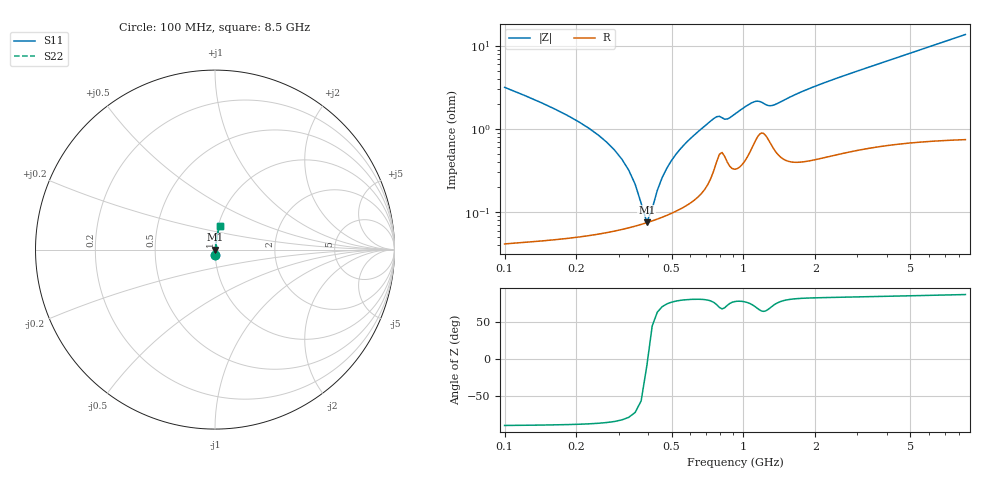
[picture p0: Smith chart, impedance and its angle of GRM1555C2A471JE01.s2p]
!Murata Part Number: GRM1555C2A471JE01
!These Parameters are Measured in Series Mode Connection
!Data Generated on Mar 30, 2021
!  o--ll--o
!Port1  Port2
!  o------o
!Operation Temp=25[degC], DC Bias Voltage=0[V]
!Freq. Start=100[MHz] Stop=9[GHz] 401[Steps]
# Hz S RI R 50
!Freq.(Hz) S11(Real) S11(Imag) S21(Real) S21(Imag) S12(Real) S12(Imag) S22(Real) S22(Imag)
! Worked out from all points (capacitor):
!   401 points, 100 MHz to 8.5 GHz, reference 50 ohm
!   read as one part in series: C = 470 pF near 142 MHz
!   lowest |Z| = 75.6 mohm at 394 MHz (marker M1)
!   series resonance near 396.8 MHz, so ESL is about 340 pH
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1e8  0.00141 -0.0316  0.9986 0.0316  0.9986 0.0316  0.00141 -0.0316
1.42e8  0.00088 -0.0207  0.9991 0.0207  0.9991 0.0207  0.00088 -0.0207
2.68e8  0.000614 -0.00688  0.9994 0.00688  0.9994 0.00688  0.000614 -0.00688
3.1e8  0.000637 -0.00427  0.9994 0.00427  0.9994 0.00427  0.000637 -0.00427
3.73e8  0.000712 -0.00106  0.9993 0.00106  0.9993 0.00106  0.000712 -0.00106
3.94e8  0.000746 -0.000119  0.9993 0.000119  0.9993 0.000119  0.000746 -0.000119
4.15e8  0.000784 0.000776  0.9992 -0.000776  0.9992 -0.000776  0.000784 0.000776
4.36e8  0.000827 0.00163  0.9992 -0.00163  0.9992 -0.00163  0.000827 0.00163
4.78e8  0.000924 0.00325  0.9991 -0.00325  0.9991 -0.00325  0.000924 0.00325
5.41e8  0.00111 0.00552  0.9989 -0.00552  0.9989 -0.00552  0.00111 0.00552
6.25e8  0.00147 0.00841  0.9985 -0.00841  0.9985 -0.00841  0.00147 0.00841
7.51e8  0.0033 0.0129  0.9967 -0.0129  0.9967 -0.0129  0.0033 0.0129
8.77e8  0.00371 0.0131  0.9963 -0.0131  0.9963 -0.0131  0.00371 0.0131
1.108e9  0.00704 0.0198  0.993 -0.0198  0.993 -0.0198  0.00704 0.0198
1.318e9  0.0065 0.0179  0.9935 -0.0179  0.9935 -0.0179  0.0065 0.0179
1.507e9  0.00466 0.0223  0.9953 -0.0223  0.9953 -0.0223  0.00466 0.0223
2.053e9  0.00542 0.0331  0.9946 -0.0331  0.9946 -0.0331  0.00542 0.0331
2.914e9  0.00766 0.0474  0.9923 -0.0474  0.9923 -0.0474  0.00766 0.0474
4.3e9  0.0112 0.0689  0.9888 -0.0689  0.9888 -0.0689  0.0112 0.0689
5.707e9  0.0152 0.0904  0.9848 -0.0904  0.9848 -0.0904  0.0152 0.0904
7.114e9  0.0199 0.1116  0.9801 -0.1116  0.9801 -0.1116  0.0199 0.1116
8.5e9  0.0253 0.1322  0.9747 -0.1322  0.9747 -0.1322  0.0253 0.1322
